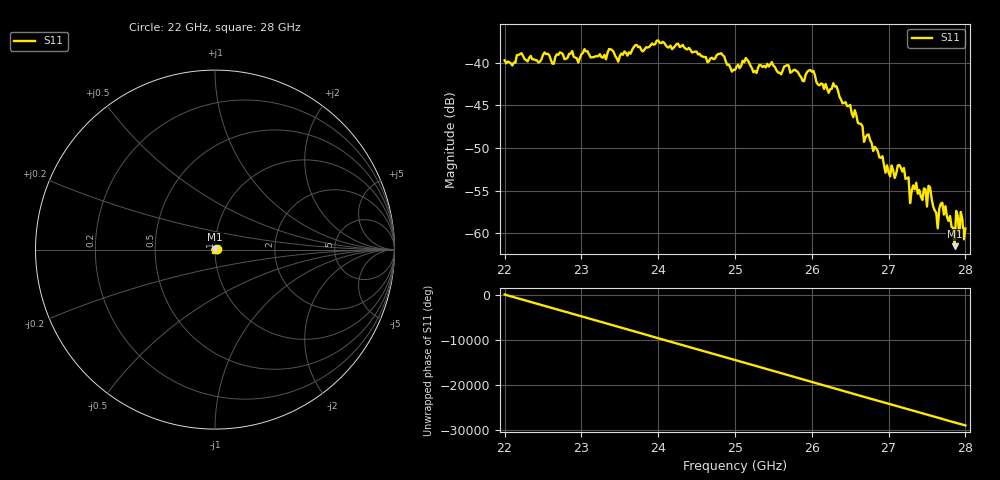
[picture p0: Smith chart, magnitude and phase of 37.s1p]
#  HZ  S  RI  R  50.00
! Rohde & Schwarz ZVA40 4Ports - Version 3.90 - 1145.1110k42 SN: 100403
! Date: 2023-10-04 07:31:44
! Measurement: S12
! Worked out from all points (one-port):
!   301 points, 22 GHz to 28 GHz, reference 50 ohm
!   lowest |S11| = -61.5 dB at 27.86 GHz (marker M1), VSWR 1.00, Z = 50 + j0.0835 ohm
!   |S11| at or under -10 dB: start of sweep to end of sweep
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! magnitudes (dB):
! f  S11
! 22 GHz  -39.7
! 22.76 GHz  -39.0
! 23.5 GHz  -39.2
! 24.26 GHz  -37.8
! 25 GHz  -40.9
! 25.14 GHz  -39.5
! 25.24 GHz  -41.1
! 25.76 GHz  -40.9
! 26.02 GHz  -41.0
! 26.5 GHz  -45.0
! 26.96 GHz  -52.9
! 27.26 GHz  -53.4
! 27.28 GHz  -56.5
! 27.36 GHz  -54.1
! 27.44 GHz  -56.1
! 27.48 GHz  -54.8
! 27.5 GHz  -56.9
! 27.54 GHz  -54.6
! 27.64 GHz  -59.4
! 27.68 GHz  -56.5
! 27.74 GHz  -56.8
! 27.84 GHz  -59.3
! 27.86 GHz  -61.5
! 27.88 GHz  -57.4
! 27.92 GHz  -60.3
! 27.94 GHz  -57.5
! 27.98 GHz  -60.7
! 28 GHz  -59.4
